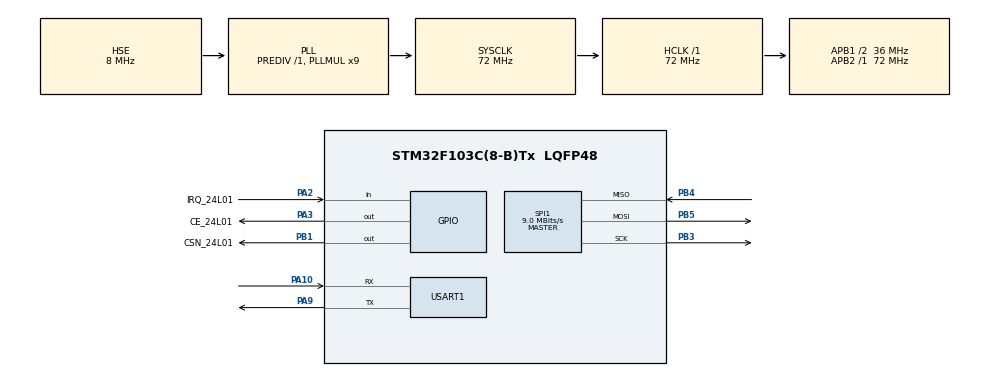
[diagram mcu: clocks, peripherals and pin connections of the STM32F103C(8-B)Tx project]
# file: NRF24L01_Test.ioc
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Mcu.Family=STM32F1
Mcu.Name=STM32F103C(8-B)Tx
Mcu.Package=LQFP48
NVIC.PriorityGroup=NVIC_PRIORITYGROUP_4
PA10.Mode=Asynchronous
PA10.Signal=USART1_RX
PA13.Mode=Serial_Wire
PA13.Signal=SYS_JTMS-SWDIO
PA14.Mode=Serial_Wire
PA14.Signal=SYS_JTCK-SWCLK
PA2.GPIO_Label=IRQ_24L01
PA2.GPIO_PuPd=GPIO_PULLUP
PA2.Signal=GPIO_Input
PA3.GPIO_Label=CE_24L01
PA3.GPIO_Speed=GPIO_SPEED_FREQ_HIGH
PA3.PinState=GPIO_PIN_SET
PA3.Signal=GPIO_Output
PA9.Mode=Asynchronous
PA9.Signal=USART1_TX
PB1.GPIO_Label=CSN_24L01
PB1.GPIO_Speed=GPIO_SPEED_FREQ_HIGH
PB1.PinState=GPIO_PIN_SET
PB1.Signal=GPIO_Output
PB3.Mode=Full_Duplex_Master
PB3.Signal=SPI1_SCK
PB4.GPIO_PuPd=GPIO_NOPULL
PB4.Mode=Full_Duplex_Master
PB4.Signal=SPI1_MISO
PB5.Mode=Full_Duplex_Master
PB5.Signal=SPI1_MOSI
PC14-OSC32_IN.Mode=LSE-External-Oscillator
PC14-OSC32_IN.Signal=RCC_OSC32_IN
PC15-OSC32_OUT.Mode=LSE-External-Oscillator
PC15-OSC32_OUT.Signal=RCC_OSC32_OUT
PD0-OSC_IN.Mode=HSE-External-Oscillator
PD0-OSC_IN.Signal=RCC_OSC_IN
PD1-OSC_OUT.Mode=HSE-External-Oscillator
PD1-OSC_OUT.Signal=RCC_OSC_OUT
ProjectManager.HeapSize=0x200
ProjectManager.StackSize=0x400
ProjectManager.TargetToolchain=MDK-ARM V5.32
RCC.AHBFreq_Value=72000000
RCC.APB1CLKDivider=RCC_HCLK_DIV2
RCC.APB1Freq_Value=36000000
RCC.APB1TimFreq_Value=72000000
RCC.APB2Freq_Value=72000000
RCC.APB2TimFreq_Value=72000000
RCC.HCLKFreq_Value=72000000
RCC.PLLMUL=RCC_PLL_MUL9
RCC.PLLSourceVirtual=RCC_PLLSOURCE_HSE
RCC.SYSCLKFreq_VALUE=72000000
RCC.SYSCLKSource=RCC_SYSCLKSOURCE_PLLCLK
RCC.USBFreq_Value=72000000
SPI1.BaudRatePrescaler=SPI_BAUDRATEPRESCALER_8
SPI1.CalculateBaudRate=9.0 MBits/s
SPI1.DataSize=SPI_DATASIZE_8BIT
SPI1.Direction=SPI_DIRECTION_2LINES
SPI1.Mode=SPI_MODE_MASTER
SPI1.VirtualType=VM_MASTER
USART1.VirtualMode=VM_ASYNC
board=custom

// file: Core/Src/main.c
/* USER CODE BEGIN Header */
/**
  ******************************************************************************
  * @file           : main.c
  * @brief          : Main program body
  ******************************************************************************
  * @attention
  *
  * Copyright (c) 2024 STMicroelectronics.
  * All rights reserved.
  *
  * This software is licensed under terms that can be found in the LICENSE file
  * in the root directory of this software component.
  * If no LICENSE file comes with this software, it is provided AS-IS.
  *
  ******************************************************************************
  */
/* USER CODE END Header */
#include "main.h"
#include "spi.h"
#include "usart.h"
#include "gpio.h"

/* USER CODE BEGIN Includes */
#include <stdio.h>
#include <string.h>
#include "NRF24L01.h"
/* USER CODE END Includes */

/* USER CODE BEGIN PV */
unsigned char tmp_rx[8] = {0};
unsigned char tmp_buf2[2] = {0};
unsigned char temp;
float Angle1;
float Angle2;
/* USER CODE END PV */

void SystemClock_Config(void);

int main(void)
{

  /* MCU Configuration--------------------------------------------------------*/

  /* Reset of all peripherals, Initializes the Flash interface and the Systick. */
  HAL_Init();

  /* Configure the system clock */
  SystemClock_Config();

  /* Initialize all configured peripherals */
  MX_GPIO_Init();
  MX_SPI1_Init();
  MX_USART1_UART_Init();
  /* USER CODE BEGIN 2 */
	NRF24L01_Init();
	temp = 4;
	while(NRF24L01_Check()&&(temp--));

	//接收
	RX_Mode();

	//发送
//	TX_Mode();
  /* USER CODE END 2 */

  /* Infinite loop */
  while (1)
  {

    /* USER CODE BEGIN 3 */
	  //接收端
		if(NRF24L01_RxPacket(tmp_rx) == 0)
		{
			Angle1=(float)((tmp_rx[0]<<24)+(tmp_rx[1]<<16)+(tmp_rx[2]<<8)+(tmp_rx[3]<<0));
			Angle2=(float)((tmp_rx[4]<<24)+(tmp_rx[5]<<16)+(tmp_rx[6]<<8)+(tmp_rx[7]<<0));

			printf("%f,%f\r\n",Angle1,Angle2);
		}

	  //发送端
//	  HAL_Delay(1000);
//	  tmp_buf[1]++;
//
//	  if(NRF24L01_TxPacket(tmp_buf)==0x20)
//	  {
//		tmp_buf[0]++;
//		 printf("send data ok\r\n");
//	  }
//	  else
//	  {
//		 printf("error\r\n");
//	  }

  }
  /* USER CODE END 3 */
}

void SystemClock_Config(void)
{
  RCC_OscInitTypeDef RCC_OscInitStruct = {0};
  RCC_ClkInitTypeDef RCC_ClkInitStruct = {0};

  /** Initializes the RCC Oscillators according to the specified parameters
  * in the RCC_OscInitTypeDef structure.
  */
  RCC_OscInitStruct.OscillatorType = RCC_OSCILLATORTYPE_HSE;
  RCC_OscInitStruct.HSEState = RCC_HSE_ON;
  RCC_OscInitStruct.HSEPredivValue = RCC_HSE_PREDIV_DIV1;
  RCC_OscInitStruct.HSIState = RCC_HSI_ON;
  RCC_OscInitStruct.PLL.PLLState = RCC_PLL_ON;
  RCC_OscInitStruct.PLL.PLLSource = RCC_PLLSOURCE_HSE;
  RCC_OscInitStruct.PLL.PLLMUL = RCC_PLL_MUL9;
  if (HAL_RCC_OscConfig(&RCC_OscInitStruct) != HAL_OK)
  {
    Error_Handler();
  }

  /** Initializes the CPU, AHB and APB buses clocks
  */
  RCC_ClkInitStruct.ClockType = RCC_CLOCKTYPE_HCLK|RCC_CLOCKTYPE_SYSCLK
                              |RCC_CLOCKTYPE_PCLK1|RCC_CLOCKTYPE_PCLK2;
  RCC_ClkInitStruct.SYSCLKSource = RCC_SYSCLKSOURCE_PLLCLK;
  RCC_ClkInitStruct.AHBCLKDivider = RCC_SYSCLK_DIV1;
  RCC_ClkInitStruct.APB1CLKDivider = RCC_HCLK_DIV2;
  RCC_ClkInitStruct.APB2CLKDivider = RCC_HCLK_DIV1;

  if (HAL_RCC_ClockConfig(&RCC_ClkInitStruct, FLASH_LATENCY_2) != HAL_OK)
  {
    Error_Handler();
  }
}

/* USER CODE BEGIN 4 */
int fputc(int ch,FILE *f){
  HAL_UART_Transmit(&huart1,(uint8_t *)&ch,1,1000);  //使用UART1，重定向
  return ch;
}
/* USER CODE END 4 */

void Error_Handler(void)
{
  __disable_irq();
  while (1)
  {
  }
}
